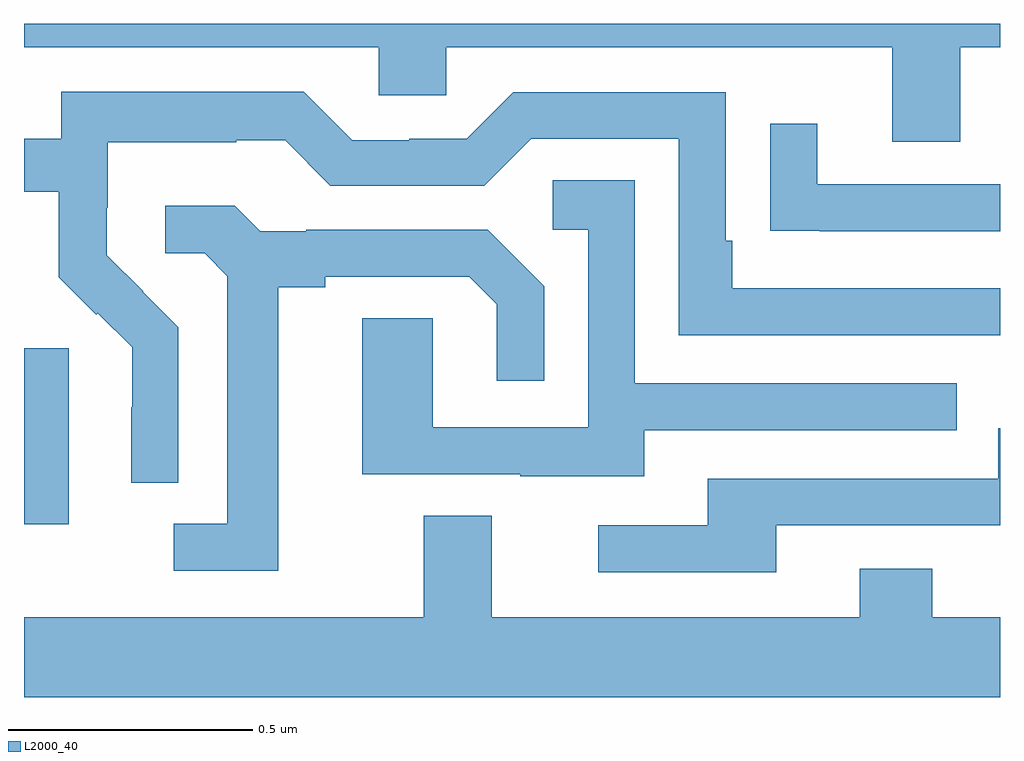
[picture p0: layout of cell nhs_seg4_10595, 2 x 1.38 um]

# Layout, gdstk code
import gdstk
lib = gdstk.Library(unit=1e-6, precision=1e-09)
def R(c, l, rs):  # rectangles x0, y0, x1, y1
    for r in rs: c.add(gdstk.rectangle(r[:2], r[2:], *l))
def P(c, l, *ps):  # polygons
    for p in ps: c.add(gdstk.Polygon(p, *l))
L2000_40 = (2000, 40)

nhs_seg4_10595 = lib.new_cell('nhs_seg4_10595')
R(nhs_seg4_10595, L2000_40, [(242,763.874,242.092,764.235)])
P(nhs_seg4_10595, L2000_40, [(243.919,764.852),(244,764.852),(244,764.9),(242,764.9),(242,764.852),(242.727,764.852),(242.727,764.754),(242.865,764.754),(242.865,764.852),(243.779,764.852),(243.779,764.658),(243.919,764.658)],
  [(242.316,764.278),(242.243,764.351),(242.244,764.352),(242.17,764.426),(242.17,764.523),(242.172,764.523),(242.172,764.657),(242.435,764.657),(242.435,764.661),(242.535,764.661),(242.628,764.568),(242.943,764.568),(243.039,764.664),(243.342,764.664),(243.342,764.262),(244,764.262),(244,764.358),(243.451,764.358),(243.451,764.455),(243.438,764.455),(243.438,764.76),(243.003,764.76),(242.907,764.664),(242.789,764.664),(242.789,764.661),(242.673,764.661),(242.573,764.761),(242.076,764.761),(242.076,764.664),(242,764.664),(242,764.556),(242.071,764.556),(242.071,764.381),(242.148,764.304),(242.151,764.307),(242.222,764.237),(242.222,764.114),(242.22,764.114),(242.22,763.96),(242.316,763.96)],
  [(244,764.571),(243.625,764.571),(243.625,764.695),(243.529,764.695),(243.529,764.476),(243.631,764.476),(243.631,764.475),(244,764.475)],
  [(243.271,764.067),(243.911,764.067),(243.911,764.163),(243.252,764.163),(243.252,764.579),(243.084,764.579),(243.084,764.478),(243.156,764.478),(243.156,764.073),(242.838,764.073),(242.838,764.297),(242.693,764.297),(242.693,763.977),(243.017,763.977),(243.017,763.973),(243.271,763.973)],
  [(242.521,764.36),(242.617,764.36),(242.617,764.382),(242.912,764.382),(242.969,764.325),(242.969,764.169),(243.066,764.169),(243.066,764.362),(242.95,764.478),(242.578,764.478),(242.578,764.475),(242.484,764.475),(242.432,764.527),(242.289,764.527),(242.289,764.43),(242.37,764.43),(242.417,764.383),(242.417,763.875),(242.307,763.875),(242.307,763.779),(242.521,763.779)],
  [(243.541,763.872),(244,763.872),(244,764.071),(243.996,764.071),(243.996,763.968),(243.401,763.968),(243.401,763.872),(243.177,763.872),(243.177,763.776),(243.541,763.776)],
  [(244,763.684),(243.861,763.684),(243.861,763.783),(243.713,763.783),(243.713,763.684),(242.959,763.684),(242.959,763.892),(242.819,763.892),(242.819,763.684),(242,763.684),(242,763.52),(244,763.52)])

lib.write_gds('nhs_seg4_10595.gds')
